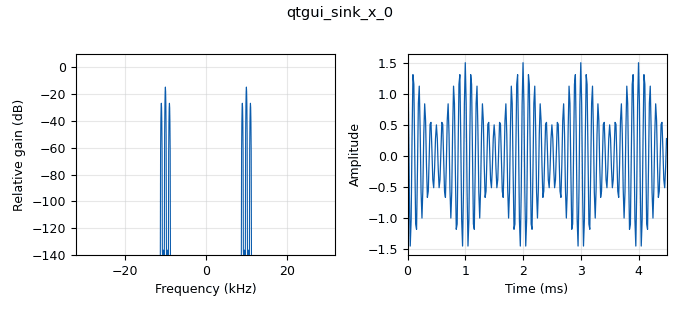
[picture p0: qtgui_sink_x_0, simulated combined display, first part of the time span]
options:
  parameters:
    author: vamseekrishnatunuguntla
    generate_options: qt_gui
    id: Test
    output_language: python
    title: '"Amplitude Modulation"'
  states: {}

blocks:
- name: carrier_freq
  id: variable_qtgui_range
  parameters:
    label: '"Modulation Index"'
    start: '5000'
    step: '0.1'
    stop: '15000'
    value: '10000'
  states: {}
- name: mod_freq
  id: variable_qtgui_range
  parameters:
    label: '"Modulation Frequency"'
    start: '300'
    step: '1'
    stop: '2700'
    value: '1000'
  states: {}
- name: mod_index
  id: variable_qtgui_range
  parameters:
    label: '"Modulation index"'
    start: '0'
    step: '0.1'
    stop: '1'
    value: '0.5'
  states: {}
- name: samp_rate
  id: variable
  parameters:
    value: '64000'
  states: {}
- name: analog_const_source_x_0
  id: analog_const_source_x
  parameters:
    const: '0.5'
    type: float
  states: {}
- name: analog_const_source_x_0_0
  id: analog_const_source_x
  parameters:
    const: '1'
    type: float
  states: {}
- name: analog_sig_source_x_0
  id: analog_sig_source_x
  parameters:
    amp: '1'
    freq: '1000'
    offset: '0'
    phase: '0'
    samp_rate: '64000'
    type: float
    waveform: analog.GR_COS_WAVE
  states: {}
- name: analog_sig_source_x_0_0
  id: analog_sig_source_x
  parameters:
    amp: '1'
    freq: '10000'
    offset: '0'
    phase: '0'
    samp_rate: '64000'
    type: float
    waveform: analog.GR_COS_WAVE
  states: {}
- name: blocks_add_xx_0
  id: blocks_add_xx
  parameters:
    type: float
  states: {}
- name: blocks_multiply_xx_0
  id: blocks_multiply_xx
  parameters:
    type: float
  states: {}
- name: blocks_multiply_xx_1
  id: blocks_multiply_xx
  parameters:
    type: float
  states: {}
- name: qtgui_sink_x_0
  id: qtgui_sink_x
  parameters:
    bw: samp_rate
    fc: '0'
    fftsize: '1024'
    type: float
  states: {}

connections:
- [analog_const_source_x_0, '0', blocks_multiply_xx_0, '1']
- [analog_const_source_x_0_0, '0', blocks_add_xx_0, '1']
- [analog_sig_source_x_0, '0', blocks_multiply_xx_0, '0']
- [analog_sig_source_x_0_0, '0', blocks_multiply_xx_1, '1']
- [blocks_add_xx_0, '0', blocks_multiply_xx_1, '0']
- [blocks_multiply_xx_0, '0', blocks_add_xx_0, '0']
- [blocks_multiply_xx_1, '0', qtgui_sink_x_0, '0']

metadata:
  file_format: 1
  grc_version: 3.10.5.1
